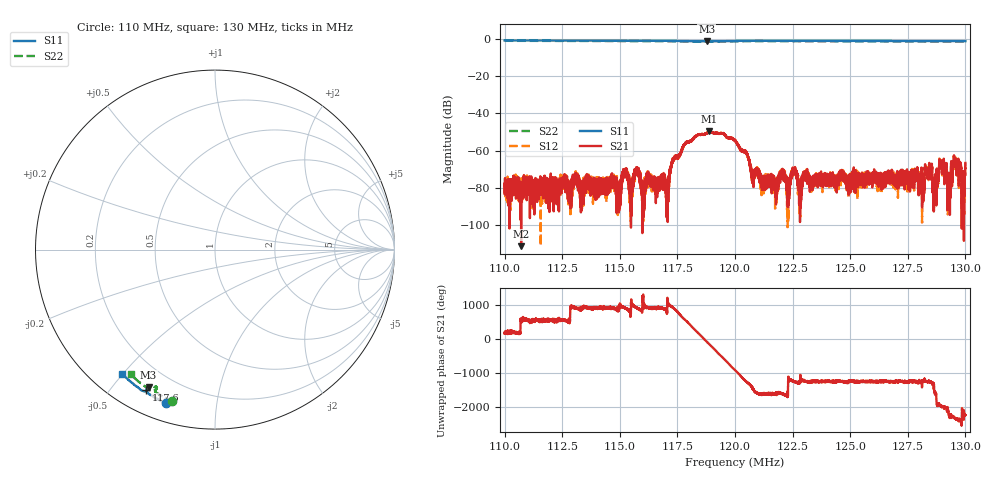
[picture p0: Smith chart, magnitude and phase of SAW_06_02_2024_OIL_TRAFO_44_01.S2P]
!Agilent Technologies,E5071C,MY46520923,B.12.03
!Date: Tue Feb 06 10:05:18 2024
!Data & Calibration Information:
!Freq	S11:SOLT2(ON)	S21:SOLT2(ON)	S12:SOLT2(ON)	S22:SOLT2(ON)
!PortZ  Port1:50+j0  Port2:50+j0
!Above PortZ is port z conversion or system Z0 setting when saving the data.
!When reading, reference impedance value at option line is always used.
# Hz S dB R 50
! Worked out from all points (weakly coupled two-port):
!   10000 points, 110 MHz to 130 MHz, reference 50 ohm
!   highest |S21| = -49.61 dB at 118.9 MHz (marker M1); lowest = -111.2 dB at 110.7 MHz (marker M2)
!   lowest |S11| = -1.4 dB at 118.8 MHz (marker M3), VSWR 12.37, Z = 5.62 - j31.1 ohm
!   |S11| at or under -10 dB: nowhere
!   |S22| runs from -1.6 to -1.1 dB; largest |S21 - S12| = 0.00022
!   S11 on the Smith chart (normalised r, x): 110 MHz: 0.08, -0.73; 117.6 MHz: 0.10, -0.62; 130 MHz: 0.09, -0.50
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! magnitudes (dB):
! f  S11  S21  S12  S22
! 110 MHz  -0.9  -78.5  -77.1  -1.1
! 110.7 MHz  -0.9  -111.2  -80.8  -1.1
! 113.3 MHz  -1.0  -92.2  -87.5  -1.2
! 115 MHz  -1.0  -84.9  -91.0  -1.3
! 115.2 MHz  -1.0  -73.8  -72.3  -1.3
! 115.5 MHz  -1.1  -82.9  -93.2  -1.3
! 115.7 MHz  -1.1  -71.3  -71.0  -1.3
! 116 MHz  -1.1  -80.9  -85.9  -1.3
! 116.7 MHz  -1.1  -75.0  -77.1  -1.3
! 117.1 MHz  -1.1  -82.8  -81.2  -1.3
! 117.6 MHz  -1.2  -62.5  -62.9  -1.4
! 118.8 MHz  -1.4  -50.6  -50.4  -1.6
! 118.9 MHz  -1.4  -49.6  -49.7  -1.6
! 120 MHz  -1.2  -54.2  -54.6  -1.4
! 121.2 MHz  -1.1  -78.4  -76.4  -1.3
! 123.3 MHz  -1.1  -77.9  -76.3  -1.4
! 126.7 MHz  -1.2  -75.9  -71.8  -1.4
! 128.7 MHz  -1.2  -81.9  -77.0  -1.5
! 129 MHz  -1.2  -67.9  -66.5  -1.5
! 129.3 MHz  -1.3  -72.2  -73.8  -1.5
! 129.6 MHz  -1.3  -64.7  -65.2  -1.5
! 130 MHz  -1.3  -66.6  -66.7  -1.5
